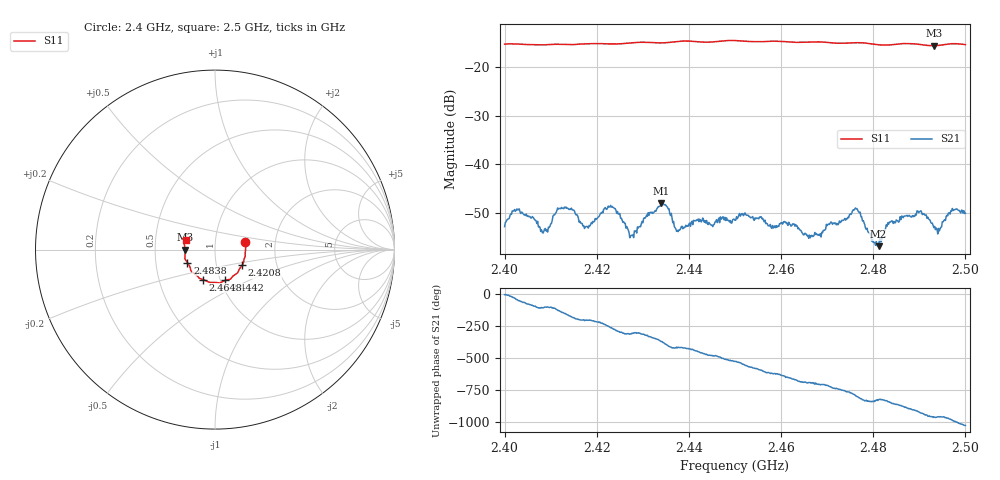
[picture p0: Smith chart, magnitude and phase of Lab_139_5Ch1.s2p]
# Hz S RI R 50
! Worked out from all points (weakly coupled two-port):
!   601 points, 2.4 GHz to 2.5 GHz, reference 50 ohm
!   highest |S21| = -48.07 dB at 2.434 GHz (marker M1); lowest = -56.9 dB at 2.4812 GHz (marker M2)
!   lowest |S11| = -15.6 dB at 2.4932 GHz (marker M3), VSWR 1.40, Z = 35.8 - j0.0772 ohm
!   |S11| at or under -10 dB: start of sweep to end of sweep
!   S12 and S22 are empty: the file has one direction only
!   S11 on the Smith chart (normalised r, x): 2.4 GHz: 1.40, +0.12; 2.4208 GHz: 1.33, -0.24; 2.4442 GHz: 1.05, -0.37; 2.4648 GHz: 0.83, -0.28; 2.4838 GHz: 0.73, -0.11; 2.5 GHz: 0.72, +0.08
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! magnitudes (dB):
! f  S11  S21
! 2.4 GHz  -15.3  -52.8
! 2.4027 GHz  -15.2  -49.2
! 2.4088 GHz  -15.4  -53.2
! 2.4128 GHz  -15.3  -49.1
! 2.4167 GHz  -15.2  -52.1
! 2.4208 GHz  -15.2  -50.1
! 2.4235 GHz  -15.2  -48.9
! 2.4275 GHz  -15.0  -54.6
! 2.4333 GHz  -15.0  -48.7
! 2.434 GHz  -15.0  -48.1
! 2.4375 GHz  -14.7  -53.6
! 2.4442 GHz  -14.9  -52.4
! 2.45 GHz  -14.5  -51.5
! 2.4648 GHz  -14.9  -54.5
! 2.4667 GHz  -14.8  -54.6
! 2.4762 GHz  -15.0  -49.0
! 2.4812 GHz  -15.4  -56.9
! 2.4833 GHz  -15.4  -52.3
! 2.4838 GHz  -15.4  -51.8
! 2.49 GHz  -15.3  -49.8
! 2.4932 GHz  -15.6  -53.0
! 2.5 GHz  -15.4  -50.1
